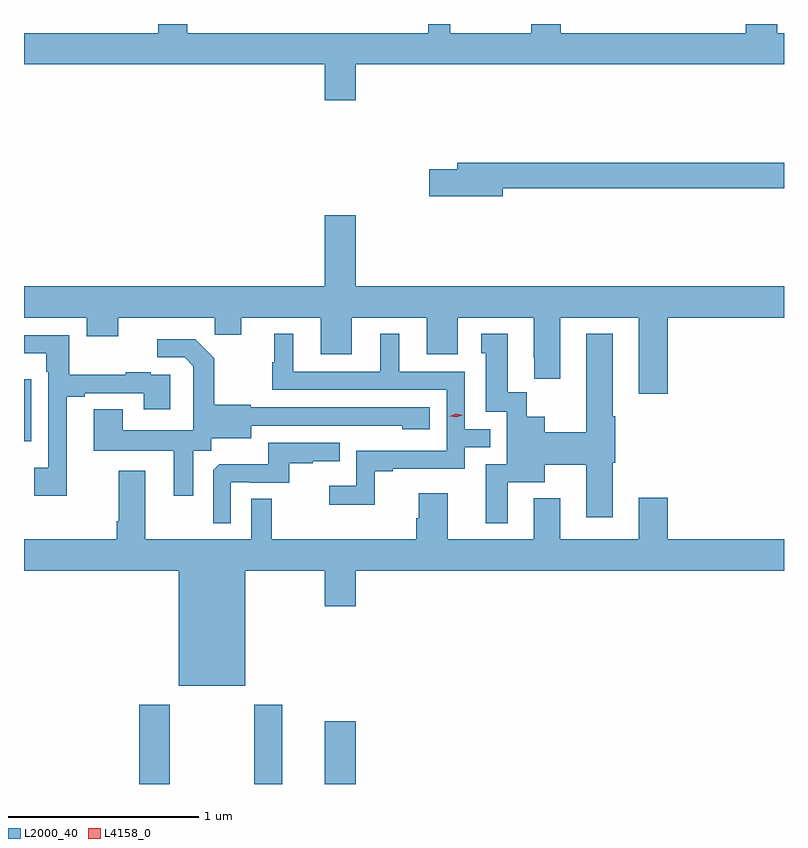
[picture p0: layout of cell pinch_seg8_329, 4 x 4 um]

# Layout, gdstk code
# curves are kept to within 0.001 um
import gdstk
lib = gdstk.Library(unit=1e-6, precision=1e-09)
def R(c, l, rs):  # rectangles x0, y0, x1, y1
    for r in rs: c.add(gdstk.rectangle(r[:2], r[2:], *l))
def P(c, l, *ps):  # polygons
    for p in ps: c.add(gdstk.Polygon(p, *l))
L2000_40 = (2000, 40)
L4158_0 = (4158, 0)

pinch_seg8_329 = lib.new_cell('pinch_seg8_329')
R(pinch_seg8_329, L2000_40, [(427.769,1146.013,427.929,1146.43), (428.374,1146.013,428.521,1146.43), (428.744,1146.013,428.908,1146.343), (427.162,1147.818,427.2,1148.143)])
P(pinch_seg8_329, L2000_40, [(428.908,1149.8),(431.162,1149.8),(431.162,1149.964),(431.126,1149.964),(431.126,1150.013),(430.961,1150.013),(430.961,1149.964),(429.986,1149.964),(429.986,1150.013),(429.833,1150.013),(429.833,1149.964),(429.406,1149.964),(429.406,1150.013),(429.289,1150.013),(429.289,1149.964),(428.021,1149.964),(428.021,1150.013),(427.868,1150.013),(427.868,1149.964),(427.162,1149.964),(427.162,1149.8),(428.744,1149.8),(428.744,1149.612),(428.908,1149.612)],
  [(429.682,1149.148),(431.162,1149.148),(431.162,1149.284),(429.443,1149.284),(429.443,1149.248),(429.294,1149.248),(429.294,1149.106),(429.682,1149.106)],
  [(430.55,1148.468),(431.162,1148.468),(431.162,1148.632),(428.908,1148.632),(428.908,1149.007),(428.744,1149.007),(428.744,1148.632),(427.162,1148.632),(427.162,1148.468),(427.493,1148.468),(427.493,1148.369),(427.657,1148.369),(427.657,1148.468),(428.167,1148.468),(428.167,1148.378),(428.305,1148.378),(428.305,1148.468),(428.723,1148.468),(428.723,1148.274),(428.887,1148.274),(428.887,1148.468),(429.281,1148.468),(429.281,1148.274),(429.445,1148.274),(429.445,1148.468),(429.845,1148.468),(429.845,1148.257),(429.848,1148.257),(429.848,1148.145),(429.985,1148.145),(429.985,1148.468),(430.397,1148.468),(430.397,1148.067),(430.55,1148.067)],
  [(429.009,1147.659),(429.103,1147.659),(429.103,1147.671),(429.483,1147.671),(429.483,1147.785),(429.616,1147.785),(429.616,1147.881),(429.483,1147.881),(429.483,1148.184),(429.136,1148.184),(429.136,1148.383),(429.038,1148.383),(429.038,1148.184),(428.578,1148.184),(428.578,1148.383),(428.48,1148.383),(428.48,1148.232),(428.469,1148.232),(428.469,1148.088),(429.387,1148.088),(429.387,1147.767),(428.91,1147.767),(428.91,1147.582),(428.769,1147.582),(428.769,1147.484),(429.009,1147.484)],
  [(429.709,1147.601),(429.904,1147.601),(429.904,1147.693),(430.121,1147.693),(430.121,1147.416),(430.261,1147.416),(430.261,1147.704),(430.274,1147.704),(430.274,1147.948),(430.261,1147.948),(430.261,1148.383),(430.121,1148.383),(430.121,1147.865),(429.904,1147.865),(429.904,1147.945),(429.807,1147.945),(429.807,1148.075),(429.709,1148.075),(429.709,1148.383),(429.569,1148.383),(429.569,1148.28),(429.593,1148.28),(429.593,1147.971),(429.702,1147.971),(429.702,1147.695),(429.593,1147.695),(429.593,1147.386),(429.709,1147.386)],
  [(427.387,1148.052),(427.483,1148.052),(427.483,1148.07),(427.793,1148.07),(427.793,1147.986),(427.933,1147.986),(427.933,1148.166),(427.829,1148.166),(427.829,1148.179),(427.697,1148.179),(427.697,1148.168),(427.399,1148.168),(427.399,1148.376),(427.162,1148.376),(427.162,1148.279),(427.278,1148.279),(427.278,1148.183),(427.29,1148.183),(427.29,1147.678),(427.215,1147.678),(427.215,1147.53),(427.387,1147.53)],
  [(428.053,1147.768),(428.148,1147.768),(428.148,1147.832),(428.359,1147.832),(428.359,1147.899),(429.153,1147.898),(429.153,1147.88),(429.298,1147.88),(429.298,1147.995),(428.355,1147.995),(428.355,1148.008),(428.163,1148.008),(428.163,1148.253),(428.063,1148.353),(427.863,1148.353),(427.863,1148.259),(428.007,1148.259),(428.054,1148.212),(428.054,1148.117),(428.052,1148.117),(428.052,1147.876),(427.681,1147.876),(427.681,1147.985),(427.529,1147.985),(427.529,1147.766),(427.949,1147.766),(427.949,1147.53),(428.053,1147.53)],
  [(428.25,1147.602),(428.35,1147.602),(428.35,1147.599),(428.558,1147.599),(428.558,1147.701),(428.681,1147.701),(428.681,1147.712),(428.825,1147.712),(428.825,1147.809),(428.448,1147.809),(428.448,1147.697),(428.189,1147.697),(428.157,1147.665),(428.157,1147.385),(428.25,1147.385)],
  [(428.326,1147.136),(428.744,1147.136),(428.744,1146.948),(428.908,1146.948),(428.908,1147.136),(431.162,1147.136),(431.162,1147.3),(430.55,1147.3),(430.55,1147.519),(430.397,1147.519),(430.397,1147.3),(429.985,1147.3),(429.985,1147.516),(429.845,1147.516),(429.845,1147.3),(429.391,1147.3),(429.391,1147.543),(429.239,1147.543),(429.239,1147.413),(429.227,1147.413),(429.227,1147.3),(428.467,1147.3),(428.467,1147.514),(428.358,1147.514),(428.358,1147.3),(427.801,1147.3),(427.801,1147.663),(427.661,1147.663),(427.661,1147.396),(427.649,1147.396),(427.649,1147.3),(427.162,1147.3),(427.162,1147.136),(427.976,1147.136),(427.976,1146.53),(428.326,1146.53)])
P(pinch_seg8_329, L4158_0, [(429.438,1147.942),(429.403,1147.949),(429.403,1147.949),(429.403,1147.949),(429.436,1147.962),(429.472,1147.954),(429.472,1147.954),(429.472,1147.954)])

lib.write_gds('pinch_seg8_329.gds')
